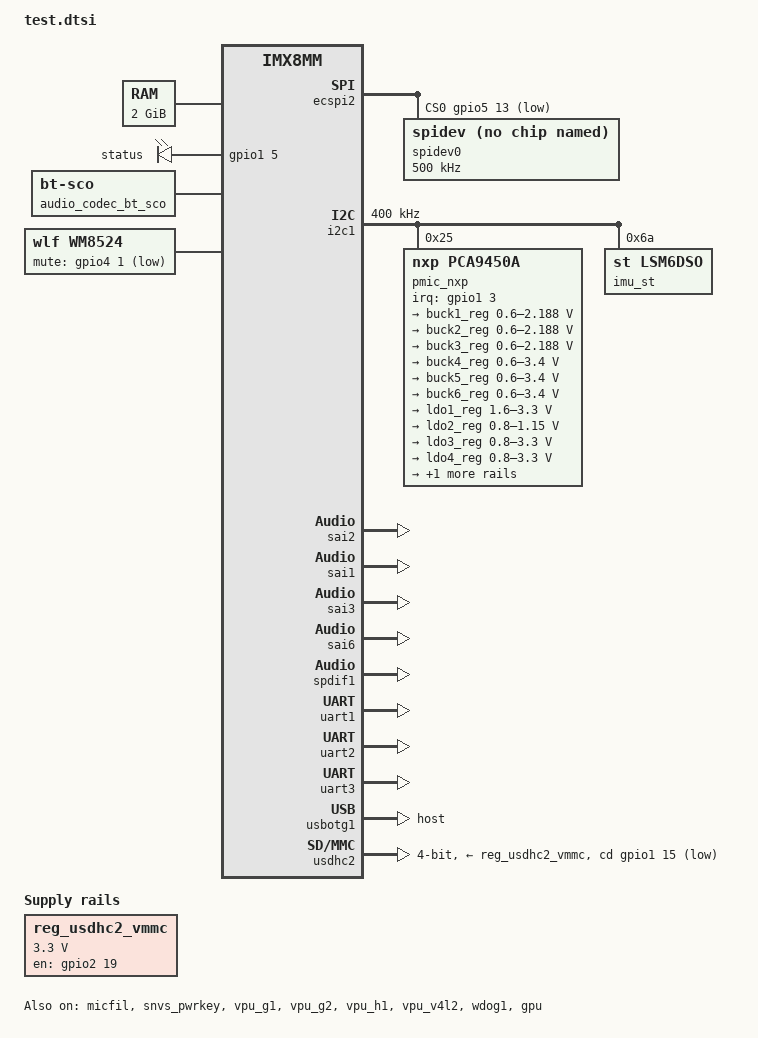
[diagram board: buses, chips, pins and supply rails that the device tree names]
// SPDX-License-Identifier: (GPL-2.0+ OR MIT)
/*
 * Copyright 2020 NXP
 */

/dts-v1/;

#include <dt-bindings/phy/phy-imx8-pcie.h>
#include <dt-bindings/usb/pd.h>
#include "imx8mm.dtsi"

/ {
	chosen {
		stdout-path = &uart2;
	};

	memory@40000000 {
		device_type = "memory";
		reg = <0x0 0x40000000 0 0x80000000>;
	};

	leds {
		compatible = "gpio-leds";
		pinctrl-names = "default";
		pinctrl-0 = <&pinctrl_gpio_led1>;

		status {
			label = "status";
			gpios = <&gpio1 5 GPIO_ACTIVE_HIGH>;
			default-state = "on";
            linux,default-trigger = "heartbeat";
		};
	};

	reg_usdhc2_vmmc: regulator-usdhc2 {
		compatible = "regulator-fixed";
		pinctrl-names = "default";
		pinctrl-0 = <&pinctrl_reg_usdhc2_vmmc>;
		regulator-name = "VSD_3V3";
		regulator-min-microvolt = <3300000>;
		regulator-max-microvolt = <3300000>;
		gpio = <&gpio2 19 GPIO_ACTIVE_HIGH>;
		off-on-delay-us = <20000>;
		enable-active-high;
	};

	audio_codec_bt_sco: audio-codec-bt-sco {
		compatible = "linux,bt-sco";
		#sound-dai-cells = <1>;
	};

	wm8524: audio-codec {
		#sound-dai-cells = <0>;
		compatible = "wlf,wm8524";
		pinctrl-names = "default";
		pinctrl-0 = <&pinctrl_gpio_wlf>;
		wlf,mute-gpios = <&gpio4 1 GPIO_ACTIVE_LOW>;
	};

	sound-bt-sco {
		compatible = "simple-audio-card";
		simple-audio-card,name = "bt-sco-audio";
		simple-audio-card,format = "dsp_a";
		simple-audio-card,bitclock-inversion;
		simple-audio-card,frame-master = <&btcpu>;
		simple-audio-card,bitclock-master = <&btcpu>;

		btcpu: simple-audio-card,cpu {
			sound-dai = <&sai2>;
			dai-tdm-slot-num = <2>;
			dai-tdm-slot-width = <16>;
		};

		simple-audio-card,codec {
			sound-dai = <&audio_codec_bt_sco 1>;
		};
	};

	sound-wm8524 {
		compatible = "simple-audio-card";
		simple-audio-card,name = "wm8524-audio";
		simple-audio-card,format = "i2s";
		simple-audio-card,frame-master = <&cpudai>;
		simple-audio-card,bitclock-master = <&cpudai>;
		simple-audio-card,widgets =
			"Line", "Left Line Out Jack",
			"Line", "Right Line Out Jack";
		simple-audio-card,routing =
			"Left Line Out Jack", "LINEVOUTL",
			"Right Line Out Jack", "LINEVOUTR";

		cpudai: simple-audio-card,cpu {
			sound-dai = <&sai1>;
			dai-tdm-slot-num = <2>;
			dai-tdm-slot-width = <32>;
		};

		simple-audio-card,codec {
			sound-dai = <&wm8524>;
			clocks = <&clk IMX8MM_CLK_SAI1_ROOT>;
		};
	};

	sound-spdif {
		compatible = "fsl,imx-audio-spdif";
		model = "imx-spdif";
		spdif-controller = <&spdif1>;
		spdif-out;
		spdif-in;
	};

	sound-micfil {
		compatible = "fsl,imx-audio-card";
		model = "imx-audio-micfil";
		pri-dai-link {
			link-name = "micfil hifi";
			format = "i2s";
			cpu {
				sound-dai = <&micfil>;
			};
		};
	};
};

&A53_0 {
	cpu-supply = <&buck2_reg>;
};

&A53_1 {
	cpu-supply = <&buck2_reg>;
};

&A53_2 {
	cpu-supply = <&buck2_reg>;
};

&A53_3 {
	cpu-supply = <&buck2_reg>;
};

&csi1_bridge {
	status = "disabled";
};

&ecspi2 {
	#address-cells = <1>;
	#size-cells = <0>;
	fsl,spi-num-chipselects = <1>;
	pinctrl-names = "default";
	pinctrl-0 = <&pinctrl_ecspi2 &pinctrl_ecspi2_cs>;
	cs-gpios = <&gpio5 13 GPIO_ACTIVE_LOW>;
	status = "okay";

	spidev0: spi@0 {
		reg = <0>;
		compatible = "rohm,dh2228fv";
		spi-max-frequency = <500000>;
	};
};

&i2c1 {
	clock-frequency = <400000>;
	pinctrl-names = "default";
	pinctrl-0 = <&pinctrl_i2c1>;
	status = "okay";

	pmic_nxp: pca9450@25 {
		compatible = "nxp,pca9450a";
		reg = <0x25>;
		pinctrl-0 = <&pinctrl_pmic>;
		pinctrl-names = "default";
		interrupt-parent = <&gpio1>;
		interrupts = <3 IRQ_TYPE_LEVEL_LOW>;

		regulators {
			buck1_reg: BUCK1 {
				regulator-name = "BUCK1";
				regulator-min-microvolt = <600000>;
				regulator-max-microvolt = <2187500>;
				regulator-boot-on;
				regulator-always-on;
				regulator-ramp-delay = <3125>;
				nxp,dvs-run-voltage = <850000>;
				nxp,dvs-standby-voltage = <800000>;
			};

			buck2_reg: BUCK2 {
				regulator-name = "BUCK2";
				regulator-min-microvolt = <600000>;
				regulator-max-microvolt = <2187500>;
				regulator-boot-on;
				regulator-always-on;
				regulator-ramp-delay = <3125>;
			};

			buck3_reg: BUCK3 {
				regulator-name = "BUCK3";
				regulator-min-microvolt = <600000>;
				regulator-max-microvolt = <2187500>;
				regulator-boot-on;
				regulator-always-on;
			};

			buck4_reg: BUCK4 {
				regulator-name = "BUCK4";
				regulator-min-microvolt = <600000>;
				regulator-max-microvolt = <3400000>;
				regulator-boot-on;
				regulator-always-on;
			};

			buck5_reg: BUCK5 {
				regulator-name = "BUCK5";
				regulator-min-microvolt = <600000>;
				regulator-max-microvolt = <3400000>;
				regulator-boot-on;
				regulator-always-on;
			};

			buck6_reg: BUCK6 {
				regulator-name = "BUCK6";
				regulator-min-microvolt = <600000>;
				regulator-max-microvolt = <3400000>;
				regulator-boot-on;
				regulator-always-on;
			};

			ldo1_reg: LDO1 {
				regulator-name = "LDO1";
				regulator-min-microvolt = <1600000>;
				regulator-max-microvolt = <3300000>;
				regulator-boot-on;
				regulator-always-on;
			};

			ldo2_reg: LDO2 {
				regulator-name = "LDO2";
				regulator-min-microvolt = <800000>;
				regulator-max-microvolt = <1150000>;
				regulator-boot-on;
				regulator-always-on;
			};

			ldo3_reg: LDO3 {
				regulator-name = "LDO3";
				regulator-min-microvolt = <800000>;
				regulator-max-microvolt = <3300000>;
				regulator-boot-on;
				regulator-always-on;
			};

			ldo4_reg: LDO4 {
				regulator-name = "LDO4";
				regulator-min-microvolt = <800000>;
				regulator-max-microvolt = <3300000>;
				regulator-boot-on;
				regulator-always-on;
			};

			ldo5_reg: LDO5 {
				regulator-name = "LDO5";
				regulator-min-microvolt = <1800000>;
				regulator-max-microvolt = <3300000>;
			};
		};
	};

    imu_st: lsm6dsm@6a {
		compatible = "st,lsm6dso";
		reg = <0x6a>;
	};
};

&i2c2 {
	clock-frequency = <400000>;
	pinctrl-names = "default";
	pinctrl-0 = <&pinctrl_i2c2>;
	status = "disabled";
};

&i2c3 {
	clock-frequency = <100000>;
	pinctrl-names = "default";
	pinctrl-0 = <&pinctrl_i2c3>;
	status = "disabled";
};

&lcdif {
       status = "disabled";
};

&mipi_csi_1 {
	status = "disabled";
};

&micfil {
	#sound-dai-cells = <0>;
	pinctrl-names = "default";
	pinctrl-0 = <&pinctrl_pdm>;
	assigned-clocks = <&clk IMX8MM_CLK_PDM>;
	assigned-clock-parents = <&clk IMX8MM_AUDIO_PLL1_OUT>;
	assigned-clock-rates = <196608000>;
	status = "okay";
};

&mipi_dsi {
    status = "disabled";
};

&sai2 {
	#sound-dai-cells = <0>;
	pinctrl-names = "default";
	pinctrl-0 = <&pinctrl_sai2>;
	assigned-clocks = <&clk IMX8MM_CLK_SAI2>;
	assigned-clock-parents = <&clk IMX8MM_AUDIO_PLL1_OUT>;
	assigned-clock-rates = <24576000>;
	status = "okay";
};

&sai1 {
	pinctrl-names = "default", "dsd";
	pinctrl-0 = <&pinctrl_sai1>;
	pinctrl-1 = <&pinctrl_sai1_dsd>;
	assigned-clocks = <&clk IMX8MM_CLK_SAI1>;
	assigned-clock-parents = <&clk IMX8MM_AUDIO_PLL1_OUT>;
	assigned-clock-rates = <49152000>;
	clocks = <&clk IMX8MM_CLK_SAI1_IPG>, <&clk IMX8MM_CLK_DUMMY>,
		<&clk IMX8MM_CLK_SAI1_ROOT>, <&clk IMX8MM_CLK_DUMMY>,
		<&clk IMX8MM_CLK_DUMMY>, <&clk IMX8MM_AUDIO_PLL1_OUT>,
		<&clk IMX8MM_AUDIO_PLL2_OUT>;
	clock-names = "bus", "mclk0", "mclk1", "mclk2", "mclk3", "pll8k", "pll11k";
	fsl,sai-multi-lane;
	fsl,dataline = <0 0xff 0xff 2 0xff 0x11>;
	dmas = <&sdma2 0 25 0>, <&sdma2 1 25 0>;
	status = "okay";
};

&sai3 {
	pinctrl-names = "default";
	pinctrl-0 = <&pinctrl_sai3>;
	assigned-clocks = <&clk IMX8MM_CLK_SAI3>;
	assigned-clock-parents = <&clk IMX8MM_AUDIO_PLL1_OUT>;
	assigned-clock-rates = <24576000>;
	status = "okay";
};

&sai6 {
	fsl,sai-monitor-spdif;
	fsl,sai-asynchronous;
	status = "okay";
};

&snvs_pwrkey {
	status = "okay";
};

&spdif1 {
	pinctrl-names = "default";
	pinctrl-0 = <&pinctrl_spdif1>;
	assigned-clocks = <&clk IMX8MM_CLK_SPDIF1>;
	assigned-clock-parents = <&clk IMX8MM_AUDIO_PLL1_OUT>;
	assigned-clock-rates = <24576000>;
	clocks = <&clk IMX8MM_CLK_AUDIO_AHB>, <&clk IMX8MM_CLK_24M>,
		<&clk IMX8MM_CLK_SPDIF1>, <&clk IMX8MM_CLK_DUMMY>,
		<&clk IMX8MM_CLK_DUMMY>, <&clk IMX8MM_CLK_DUMMY>,
		<&clk IMX8MM_CLK_AUDIO_AHB>, <&clk IMX8MM_CLK_DUMMY>,
		<&clk IMX8MM_CLK_DUMMY>, <&clk IMX8MM_CLK_DUMMY>,
		<&clk IMX8MM_AUDIO_PLL1_OUT>, <&clk IMX8MM_AUDIO_PLL2_OUT>;
	clock-names = "core", "rxtx0", "rxtx1", "rxtx2", "rxtx3",
		"rxtx4", "rxtx5", "rxtx6", "rxtx7", "spba", "pll8k", "pll11k";
	status = "okay";
};

&uart1 { /* BT */
	pinctrl-names = "default";
	pinctrl-0 = <&pinctrl_uart1>;
	assigned-clocks = <&clk IMX8MM_CLK_UART1>;
	assigned-clock-parents = <&clk IMX8MM_SYS_PLL1_80M>;
	fsl,uart-has-rtscts;
	status = "okay";
};

&uart2 { /* console */
	pinctrl-names = "default";
	pinctrl-0 = <&pinctrl_uart2>;
	status = "okay";
};

&uart3 {
	pinctrl-names = "default";
	pinctrl-0 = <&pinctrl_uart3>;
	assigned-clocks = <&clk IMX8MM_CLK_UART3>;
	assigned-clock-parents = <&clk IMX8MM_SYS_PLL1_80M>;
	fsl,uart-has-rtscts;
	status = "okay";
};

&usbotg1 {
	dr_mode = "host";
	hnp-disable;
	srp-disable;
	adp-disable;
	usb-role-switch;
	disable-over-current;
	samsung,picophy-pre-emp-curr-control = <3>;
	samsung,picophy-dc-vol-level-adjust = <7>;
	status = "okay";
};

&usdhc2 {
	assigned-clocks = <&clk IMX8MM_CLK_USDHC2>;
	assigned-clock-rates = <200000000>;
	pinctrl-names = "default", "state_100mhz", "state_200mhz";
	pinctrl-0 = <&pinctrl_usdhc2>, <&pinctrl_usdhc2_gpio>;
	pinctrl-1 = <&pinctrl_usdhc2_100mhz>, <&pinctrl_usdhc2_gpio>;
	pinctrl-2 = <&pinctrl_usdhc2_200mhz>, <&pinctrl_usdhc2_gpio>;
	cd-gpios = <&gpio1 15 GPIO_ACTIVE_LOW>;
	bus-width = <4>;
	vmmc-supply = <&reg_usdhc2_vmmc>;
	status = "okay";
};

&vpu_g1 {
	status = "okay";
};

&vpu_g2 {
	status = "okay";
};

&vpu_h1 {
	status = "okay";
};

&vpu_v4l2 {
	status = "okay";
};

&wdog1 {
	pinctrl-names = "default";
	pinctrl-0 = <&pinctrl_wdog>;
	fsl,ext-reset-output;
	status = "okay";
};

&gpu {
	status = "okay";
};

&iomuxc {
	pinctrl_ecspi2: ecspi2grp {
		fsl,pins = <
			MX8MM_IOMUXC_ECSPI2_SCLK_ECSPI2_SCLK		0x82
			MX8MM_IOMUXC_ECSPI2_MOSI_ECSPI2_MOSI		0x82
			MX8MM_IOMUXC_ECSPI2_MISO_ECSPI2_MISO		0x82
		>;
	};

	pinctrl_ecspi2_cs: ecspi2cs {
		fsl,pins = <
			MX8MM_IOMUXC_ECSPI2_SS0_GPIO5_IO13		0x40000
		>;
	};

	pinctrl_gpio_led0: gpioled0grp {
		fsl,pins = <
			MX8MM_IOMUXC_NAND_READY_B_GPIO3_IO16	0x19
		>;
	};

    pinctrl_gpio_led1: gpioled1grp {
        fsl,pins = <
            MX8MM_IOMUXC_GPIO1_IO05_GPIO1_IO5      0x19
        >;
    };

	pinctrl_gpio_wlf: gpiowlfgrp {
		fsl,pins = <
            MX8MM_IOMUXC_SAI1_RXC_GPIO4_IO1     0xd6
		>;
	};

	pinctrl_i2c1: i2c1grp {
		fsl,pins = <
			MX8MM_IOMUXC_I2C1_SCL_I2C1_SCL			0x400001c3
			MX8MM_IOMUXC_I2C1_SDA_I2C1_SDA			0x400001c3
		>;
	};

	pinctrl_i2c2: i2c2grp {
		fsl,pins = <
			MX8MM_IOMUXC_I2C2_SCL_I2C2_SCL			0x400001c3
			MX8MM_IOMUXC_I2C2_SDA_I2C2_SDA			0x400001c3
		>;
	};

	pinctrl_i2c3: i2c3grp {
		fsl,pins = <
			MX8MM_IOMUXC_I2C3_SCL_I2C3_SCL			0x400001c3
			MX8MM_IOMUXC_I2C3_SDA_I2C3_SDA			0x400001c3
		>;
	};

	pinctrl_pdm: pdmgrp {
		fsl,pins = <
			MX8MM_IOMUXC_SAI5_RXC_PDM_CLK		0xd6
			MX8MM_IOMUXC_SAI5_RXD0_PDM_DATA0	0xd6
		>;
	};

	pinctrl_pmic: pmicirqgrp {
		fsl,pins = <
			MX8MM_IOMUXC_GPIO1_IO03_GPIO1_IO3		0x141
		>;
	};

	pinctrl_reg_usdhc2_vmmc: regusdhc2vmmcgrp {
		fsl,pins = <
			MX8MM_IOMUXC_SD2_RESET_B_GPIO2_IO19	0x41
		>;
	};

	pinctrl_sai1: sai1grp {
		fsl,pins = <
			MX8MM_IOMUXC_SAI1_MCLK_SAI1_MCLK	    0xd6
			MX8MM_IOMUXC_SAI1_TXFS_SAI1_TX_SYNC	    0xd6
			MX8MM_IOMUXC_SAI1_TXC_SAI1_TX_BCLK	    0xd6
			MX8MM_IOMUXC_SAI1_TXD0_SAI1_TX_DATA0	0xd6
		>;
	};

	pinctrl_sai1_dsd: sai1grp_dsd {
		fsl,pins = <
			MX8MM_IOMUXC_SAI1_MCLK_SAI1_MCLK	    0xd6
			MX8MM_IOMUXC_SAI1_TXFS_SAI1_TX_SYNC	    0xd6
			MX8MM_IOMUXC_SAI1_TXC_SAI1_TX_BCLK	    0xd6
			MX8MM_IOMUXC_SAI1_TXD0_SAI1_TX_DATA0	0xd6
		>;
	};

	pinctrl_sai2: sai2grp {
		fsl,pins = <
			MX8MM_IOMUXC_SAI2_TXC_SAI2_TX_BCLK      0xd6
			MX8MM_IOMUXC_SAI2_TXFS_SAI2_TX_SYNC     0xd6
			MX8MM_IOMUXC_SAI2_TXD0_SAI2_TX_DATA0    0xd6
			MX8MM_IOMUXC_SAI2_RXD0_SAI2_RX_DATA0    0xd6
		>;
	};

	pinctrl_sai3: sai3grp {
		fsl,pins = <
			MX8MM_IOMUXC_SAI3_TXFS_SAI3_TX_SYNC     0xd6
			MX8MM_IOMUXC_SAI3_TXC_SAI3_TX_BCLK      0xd6
			MX8MM_IOMUXC_SAI3_MCLK_SAI3_MCLK        0xd6
			MX8MM_IOMUXC_SAI3_TXD_SAI3_TX_DATA0     0xd6
		>;
	};

	pinctrl_spdif1: spdif1grp {
		fsl,pins = <
			MX8MM_IOMUXC_SPDIF_TX_SPDIF1_OUT	0xd6
			MX8MM_IOMUXC_SPDIF_RX_SPDIF1_IN		0xd6
		>;
	};

	pinctrl_uart1: uart1grp {
		fsl,pins = <
			MX8MM_IOMUXC_UART1_RXD_UART1_DCE_RX     0x140
			MX8MM_IOMUXC_UART1_TXD_UART1_DCE_TX     0x140
			MX8MM_IOMUXC_UART3_RXD_UART1_DCE_CTS_B  0x140
			MX8MM_IOMUXC_UART3_TXD_UART1_DCE_RTS_B  0x140
		>;
	};

	pinctrl_uart2: uart2grp {
		fsl,pins = <
			MX8MM_IOMUXC_UART2_RXD_UART2_DCE_RX	0x140
			MX8MM_IOMUXC_UART2_TXD_UART2_DCE_TX	0x140
		>;
	};

	pinctrl_uart3: uart3grp {
		fsl,pins = <
			MX8MM_IOMUXC_ECSPI1_SCLK_UART3_DCE_RX           0x140
			MX8MM_IOMUXC_ECSPI1_MOSI_UART3_DCE_TX           0x140
			MX8MM_IOMUXC_ECSPI1_SS0_UART3_DCE_RTS_B         0x140
			MX8MM_IOMUXC_ECSPI1_MISO_UART3_DCE_CTS_B        0x140
		>;
	};

	pinctrl_usdhc1_gpio: usdhc1grpgpio {
		fsl,pins = <
			MX8MM_IOMUXC_SD1_RESET_B_GPIO2_IO10	0x41
		>;
	};

	pinctrl_usdhc1: usdhc1grp {
		fsl,pins = <
			MX8MM_IOMUXC_SD1_CLK_USDHC1_CLK		0x190
			MX8MM_IOMUXC_SD1_CMD_USDHC1_CMD		0x1d0
			MX8MM_IOMUXC_SD1_DATA0_USDHC1_DATA0	0x1d0
			MX8MM_IOMUXC_SD1_DATA1_USDHC1_DATA1	0x1d0
			MX8MM_IOMUXC_SD1_DATA2_USDHC1_DATA2	0x1d0
			MX8MM_IOMUXC_SD1_DATA3_USDHC1_DATA3	0x1d0
		>;
	};

	pinctrl_usdhc1_100mhz: usdhc1grp100mhz {
		fsl,pins = <
			MX8MM_IOMUXC_SD1_CLK_USDHC1_CLK		0x194
			MX8MM_IOMUXC_SD1_CMD_USDHC1_CMD		0x1d4
			MX8MM_IOMUXC_SD1_DATA0_USDHC1_DATA0	0x1d4
			MX8MM_IOMUXC_SD1_DATA1_USDHC1_DATA1	0x1d4
			MX8MM_IOMUXC_SD1_DATA2_USDHC1_DATA2	0x1d4
			MX8MM_IOMUXC_SD1_DATA3_USDHC1_DATA3	0x1d4
		>;
	};

	pinctrl_usdhc1_200mhz: usdhc1grp200mhz {
		fsl,pins = <
			MX8MM_IOMUXC_SD1_CLK_USDHC1_CLK		0x196
			MX8MM_IOMUXC_SD1_CMD_USDHC1_CMD		0x1d6
			MX8MM_IOMUXC_SD1_DATA0_USDHC1_DATA0	0x1d6
			MX8MM_IOMUXC_SD1_DATA1_USDHC1_DATA1	0x1d6
			MX8MM_IOMUXC_SD1_DATA2_USDHC1_DATA2	0x1d6
			MX8MM_IOMUXC_SD1_DATA3_USDHC1_DATA3	0x1d6
		>;
	};

	pinctrl_usdhc2_gpio: usdhc2grpgpiogrp {
		fsl,pins = <
			MX8MM_IOMUXC_GPIO1_IO15_GPIO1_IO15	0x1c4
		>;
	};

	pinctrl_usdhc2: usdhc2grp {
		fsl,pins = <
			MX8MM_IOMUXC_SD2_CLK_USDHC2_CLK		0x190
			MX8MM_IOMUXC_SD2_CMD_USDHC2_CMD		0x1d0
			MX8MM_IOMUXC_SD2_DATA0_USDHC2_DATA0	0x1d0
			MX8MM_IOMUXC_SD2_DATA1_USDHC2_DATA1	0x1d0
			MX8MM_IOMUXC_SD2_DATA2_USDHC2_DATA2	0x1d0
			MX8MM_IOMUXC_SD2_DATA3_USDHC2_DATA3	0x1d0
			MX8MM_IOMUXC_GPIO1_IO04_USDHC2_VSELECT	0x1d0
		>;
	};

	pinctrl_usdhc2_100mhz: usdhc2-100mhzgrp {
		fsl,pins = <
			MX8MM_IOMUXC_SD2_CLK_USDHC2_CLK		0x194
			MX8MM_IOMUXC_SD2_CMD_USDHC2_CMD		0x1d4
			MX8MM_IOMUXC_SD2_DATA0_USDHC2_DATA0	0x1d4
			MX8MM_IOMUXC_SD2_DATA1_USDHC2_DATA1	0x1d4
			MX8MM_IOMUXC_SD2_DATA2_USDHC2_DATA2	0x1d4
			MX8MM_IOMUXC_SD2_DATA3_USDHC2_DATA3	0x1d4
			MX8MM_IOMUXC_GPIO1_IO04_USDHC2_VSELECT	0x1d0
		>;
	};

	pinctrl_usdhc2_200mhz: usdhc2-200mhzgrp {
		fsl,pins = <
			MX8MM_IOMUXC_SD2_CLK_USDHC2_CLK		0x196
			MX8MM_IOMUXC_SD2_CMD_USDHC2_CMD		0x1d6
			MX8MM_IOMUXC_SD2_DATA0_USDHC2_DATA0	0x1d6
			MX8MM_IOMUXC_SD2_DATA1_USDHC2_DATA1	0x1d6
			MX8MM_IOMUXC_SD2_DATA2_USDHC2_DATA2	0x1d6
			MX8MM_IOMUXC_SD2_DATA3_USDHC2_DATA3	0x1d6
			MX8MM_IOMUXC_GPIO1_IO04_USDHC2_VSELECT	0x1d0
		>;
	};

	pinctrl_wdog: wdoggrp {
		fsl,pins = <
			MX8MM_IOMUXC_GPIO1_IO02_WDOG1_WDOG_B	0x166
		>;
	};
};
